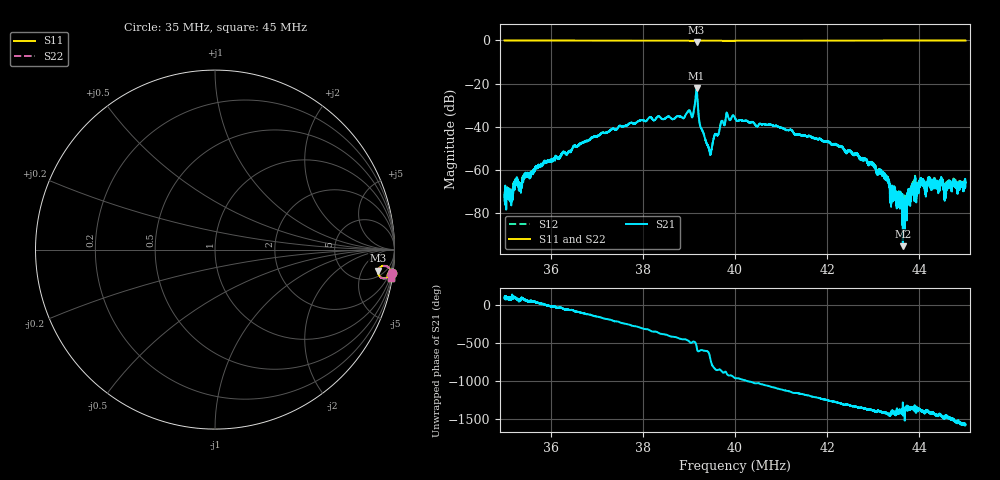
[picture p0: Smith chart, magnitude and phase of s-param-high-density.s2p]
!  23/08/2022  4:53:40 PM
! Ref Plane: 0.000 mm
# MHZ S MA R  50
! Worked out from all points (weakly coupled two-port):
!   8001 points, 35 MHz to 45 MHz, reference 50 ohm
!   highest |S21| = -22.24 dB at 39.17 MHz (marker M1); lowest = -95.4 dB at 43.64 MHz (marker M2)
!   lowest |S11| = -0.8 dB at 39.17 MHz (marker M3), VSWR 22.22, Z = 369 - j521 ohm
!   |S11| at or under -10 dB: nowhere
!   |S22| runs from -0.8 to 0.0 dB; largest |S21 - S12| = 0.00073
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35  0.995 -7.5  0.0001909 94.2  0.0003186 103.7  0.9955 -7.6
35.1388  0.9952 -7.6  0.0002437 102.0  0.0003112 87.5  0.9958 -7.7
35.2425  0.9942 -7.7  0.0005508 85.3  0.0005243 94.4  0.9953 -7.7
35.3463  0.9941 -7.7  0.0004425 75.3  0.0004286 81.3  0.9954 -7.8
35.7038  0.9937 -7.8  0.001138 32.5  0.001163 29.6  0.9944 -7.9
36.6675  0.9898 -8.1  0.0042 -102.3  0.004265 -102.5  0.9906 -8.2
38.3338  0.9751 -8.1  0.01754 -3.6  0.01752 -3.1  0.9756 -8.3
39.0638  0.9767 -8.2  0.01663 -132.7  0.01661 -132.5  0.9767 -8.3
39.1663  0.9139 -7.3  0.07729 171.0  0.07723 171.5  0.9155 -7.5
39.26  0.9866 -7.3  0.009445 127.6  0.00942 127.6  0.987 -7.5
39.4488  0.9874 -8.1  0.002613 59.0  0.002636 59.5  0.9892 -8.2
39.71  0.9808 -8.4  0.01358 -149.6  0.01357 -149.0  0.9816 -8.6
40  0.979 -7.9  0.01588 121.7  0.01595 122.2  0.9802 -8.0
41.6675  0.9843 -8.1  0.005618 -121.0  0.005576 -120.7  0.9857 -8.2
42.8175  0.9892 -8.3  0.001679 83.5  0.001732 83.5  0.9909 -8.4
43.3338  0.9917 -8.4  0.0005342 5.0  0.0005533 5.5  0.9915 -8.6
43.3925  0.9916 -8.5  0.0001639 31.1  0.0002295 46.1  0.9921 -8.6
43.6425  0.9919 -8.5  1.703e-05 161.4  0.0001311 50.3  0.9932 -8.7
43.8725  0.991 -8.7  0.000463 84.0  0.0004179 77.7  0.9922 -8.8
44.0463  0.9922 -8.7  0.0004753 51.3  0.0005955 54.3  0.9931 -8.8
44.5688  0.9925 -8.9  0.0003335 -14.0  0.0003333 -16.2  0.9934 -9.0
45  0.9923 -9.1  0.0005123 -126.7  0.0005911 -128.8  0.9932 -9.2
